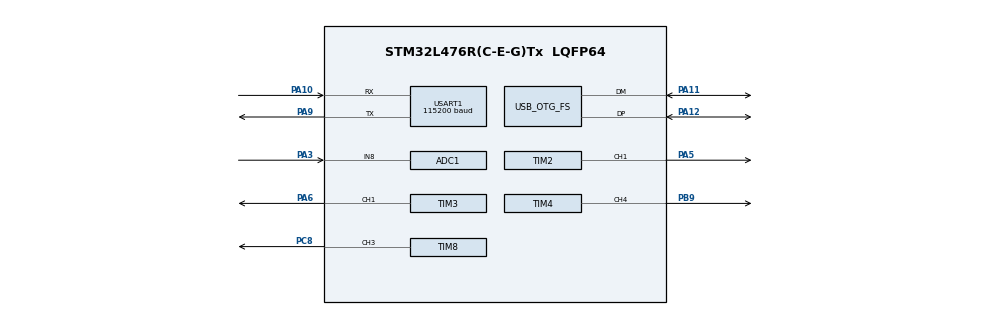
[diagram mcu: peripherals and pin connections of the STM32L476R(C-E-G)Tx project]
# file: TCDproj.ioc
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ADC1.Channel-1\#ChannelRegularConversion=ADC_CHANNEL_8
ADC1.DMAContinuousRequests=ENABLE
ADC1.ExternalTrigConv=ADC_EXTERNALTRIG_T4_TRGO
ADC1.NbrOfConversionFlag=1
ADC1.OffsetNumber-1\#ChannelRegularConversion=ADC_OFFSET_NONE
ADC1.Rank-1\#ChannelRegularConversion=1
ADC1.SamplingTime-1\#ChannelRegularConversion=ADC_SAMPLETIME_2CYCLES_5
ADC1.master=1
Dma.ADC1.0.Direction=DMA_PERIPH_TO_MEMORY
Dma.ADC1.0.Instance=DMA1_Channel1
Dma.ADC1.0.MemDataAlignment=DMA_MDATAALIGN_HALFWORD
Dma.ADC1.0.MemInc=DMA_MINC_ENABLE
Dma.ADC1.0.Mode=DMA_CIRCULAR
Dma.ADC1.0.PeriphDataAlignment=DMA_PDATAALIGN_HALFWORD
Dma.ADC1.0.PeriphInc=DMA_PINC_DISABLE
Dma.ADC1.0.Priority=DMA_PRIORITY_LOW
Dma.Request0=ADC1
Mcu.Family=STM32L4
Mcu.Name=STM32L476R(C-E-G)Tx
Mcu.Package=LQFP64
NVIC.DMA1_Channel1_IRQn=true\:2\:0\:true\:false\:true\:false\:true\:true
NVIC.OTG_FS_IRQn=true\:5\:0\:true\:false\:true\:false\:true\:true
NVIC.PriorityGroup=NVIC_PRIORITYGROUP_4
NVIC.TIM2_IRQn=true\:0\:0\:false\:false\:true\:true\:true\:true
NVIC.USART1_IRQn=true\:0\:0\:false\:false\:true\:true\:true\:true
PA10.Mode=Asynchronous
PA10.Signal=USART1_RX
PA11.Mode=Device_Only
PA11.Signal=USB_OTG_FS_DM
PA12.Mode=Device_Only
PA12.Signal=USB_OTG_FS_DP
PA3.Signal=ADCx_IN8
PA5.Signal=S_TIM2_CH1
PA6.Signal=S_TIM3_CH1
PA9.Mode=Asynchronous
PA9.Signal=USART1_TX
PB9.Signal=S_TIM4_CH4
PC8.Signal=S_TIM8_CH3
PH0-OSC_IN\ (PH0).Mode=HSE-External-Oscillator
PH0-OSC_IN\ (PH0).Signal=RCC_OSC_IN
PH1-OSC_OUT\ (PH1).Mode=HSE-External-Oscillator
PH1-OSC_OUT\ (PH1).Signal=RCC_OSC_OUT
ProjectManager.HeapSize=0x200
ProjectManager.StackSize=0x400
ProjectManager.TargetToolchain=STM32CubeIDE
RCC.ADCCLockSelection=RCC_ADCCLKSOURCE_SYSCLK
RCC.ADCFreq_Value=80000000
RCC.AHBFreq_Value=80000000
RCC.APB1Freq_Value=80000000
RCC.APB1TimFreq_Value=80000000
RCC.APB2Freq_Value=80000000
RCC.APB2TimFreq_Value=80000000
RCC.CortexFreq_Value=80000000
RCC.HCLKFreq_Value=80000000
RCC.HSE_VALUE=25000000
RCC.HSI_VALUE=16000000
RCC.LSE_VALUE=32768
RCC.MSI_VALUE=4000000
RCC.PLLN=40
RCC.PLLSAI1N=24
RCC.SYSCLKFreq_VALUE=80000000
RCC.SYSCLKSource=RCC_SYSCLKSOURCE_PLLCLK
RCC.USBFreq_Value=48000000
RCC.VCOOutputFreq_Value=160000000
SH.ADCx_IN8.0=ADC1_IN8,IN8-Single-Ended
SH.S_TIM2_CH1.0=TIM2_CH1,PWM Generation1 CH1
SH.S_TIM3_CH1.0=TIM3_CH1,PWM Generation1 CH1
SH.S_TIM4_CH4.0=TIM4_CH4,PWM Generation4 CH4
SH.S_TIM8_CH3.0=TIM8_CH3,PWM Generation3 CH3
TIM2.Channel-PWM\ Generation1\ CH1=TIM_CHANNEL_1
TIM2.Period=599999
TIM2.Pulse-PWM\ Generation1\ CH1=799
TIM2.TIM_MasterOutputTrigger=TIM_TRGO_ENABLE
TIM2.TIM_MasterSlaveMode=TIM_MASTERSLAVEMODE_ENABLE
TIM3.AutoReloadPreload=TIM_AUTORELOAD_PRELOAD_ENABLE
TIM3.Channel-PWM\ Generation1\ CH1=TIM_CHANNEL_1
TIM3.Period=39
TIM3.Pulse-PWM\ Generation1\ CH1=19
TIM3.TIM_MasterOutputTrigger=TIM_TRGO_UPDATE
TIM3.TIM_MasterSlaveMode=TIM_MASTERSLAVEMODE_ENABLE
TIM4.Channel-PWM\ Generation4\ CH4=TIM_CHANNEL_4
TIM4.Period=159
TIM4.Pulse-PWM\ Generation4\ CH4=39
TIM4.TIM_MasterOutputTrigger=TIM_TRGO_UPDATE
TIM4.TIM_MasterSlaveMode=TIM_MASTERSLAVEMODE_ENABLE
TIM8.Channel-PWM\ Generation3\ CH3=TIM_CHANNEL_3
TIM8.OCPolarity_3=TIM_OCPOLARITY_LOW
TIM8.Period=1599
TIM8.Pulse-PWM\ Generation3\ CH3=319
TIM8.TIM_MasterSlaveMode=TIM_MASTERSLAVEMODE_ENABLE
USART1.BaudRate=115200
USART1.Mode=MODE_TX
USART1.VirtualMode-Asynchronous=VM_ASYNC
USB_DEVICE.CLASS_NAME_FS=CDC
USB_DEVICE.VirtualMode=Cdc
USB_DEVICE.VirtualModeFS=Cdc_FS
USB_OTG_FS.VirtualMode=Device_Only
VP_TIM2_VS_ClockSourceITR.Mode=TriggerSource_ITR2
VP_TIM2_VS_ControllerModeClock.Mode=Clock Mode
VP_TIM3_VS_ClockSourceINT.Mode=Internal
VP_TIM4_VS_ClockSourceITR.Mode=TriggerSource_ITR2
VP_TIM4_VS_ControllerModeClock.Mode=Clock Mode
VP_TIM8_VS_ClockSourceINT.Mode=Internal
VP_TIM8_VS_ClockSourceITR.Mode=TriggerSource_ITR1
VP_USB_DEVICE_VS_USB_DEVICE_CDC_FS.Mode=CDC_FS
board=custom

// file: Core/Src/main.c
/* USER CODE BEGIN Header */
/**
  ******************************************************************************
  * @file           : main.c
  * @brief          : Main program body
  ******************************************************************************
  * @attention
  *
  * Copyright (c) 2026 STMicroelectronics.
  * All rights reserved.
  *
  * This software is licensed under terms that can be found in the LICENSE file
  * in the root directory of this software component.
  * If no LICENSE file comes with this software, it is provided AS-IS.
  *
  ******************************************************************************
  */
/* USER CODE END Header */
#include "main.h"
#include "adc.h"
#include "dma.h"
#include "tim.h"
#include "usart.h"
#include "usb_device.h"
#include "gpio.h"

/* USER CODE BEGIN Includes */
#include <string.h>
/* USER CODE END Includes */

/* USER CODE BEGIN PV */

extern uint8_t CDC_Transmit_FS(uint8_t* Buf, uint16_t Len);
extern USBD_HandleTypeDef hUsbDeviceFS;

/* Periods for the timers controlling SH- and ICG-pulses. Sized for F401
 * wall-clock parity (SH ~625 us, ICG ~250 ms / 4 Hz frame rate).
 *
 * SH is on TIM8 internal clock at 80 MHz (10x F401's 8 MHz), so SH_period
 * scales 10x: 5000 -> 50000.
 *
 * ICG is on TIM2 clocked by TIM3 TRGO. TIM3 ARR=40 gives a 2 MHz tick
 * (vs F401's 800 kHz: 8 MHz / 10). That's 2.5x faster than F401, so ICG_period
 * scales 2.5x, not 10x: 200000 -> 500000. */
__IO uint32_t SH_period = 50000;
__IO uint32_t ICG_period = 500000;

__IO uint16_t aTxBuffer[CCDSize];

/* Flags */
__IO uint8_t change_exposure_flag = 0; /* set by CDC RX when host sends new ICG/SH */
__IO uint8_t data_flag = 0;
/* Flag to signal what action to do in main-loop
 *   0 do nothing
 *   1 transmit data in aTxBuffer
 */

__IO uint8_t pulse_counter = 8;
__IO uint8_t CCD_flushed = 0;  /* set to 1 by TIM2 IRQ after 2nd ICG pulse */
__IO uint8_t in_reading = 0;   /* 1 while ADC is sampling a frame */
__IO uint8_t coll_mode = 1;    /* 1 = continuous capture */
__IO uint8_t avg_exps  = 1;    /* 1 = single-shot per frame (no averaging) */
__IO uint8_t exps_left = 0;

/* USER CODE END PV */

void SystemClock_Config(void);
void PeriphCommonClock_Config(void);
/* USER CODE BEGIN PFP */
void flush_CCD(void);
void CCD_set_clocks(void);
/* USER CODE END PFP */

/* USER CODE BEGIN 0 */
/* TIM Configuration (L476 port of F401 tcd1304-usb)
 *   fM  (TIM3)  PA6 (CH1)  - master clock
 *   SH  (TIM8)  PC8 (CH3)  - was TIM5 CH4 / PA3 on F401
 *   ICG (TIM2)  PA5 (CH1)  - was TIM2 CH3 / PA2 on F401
 *   CCD-output  PA3 (ADC1_IN8) - was PA0 / ADC1_IN0 on F401
 */

static void ADC_Calibrate_And_Enable(void)
{
    if (LL_ADC_IsEnabled(ADC1)) return;
    LL_ADC_StartCalibration(ADC1, LL_ADC_SINGLE_ENDED);
    while (LL_ADC_IsCalibrationOnGoing(ADC1)) { }
    /* short delay between calibration and enable */
    for (volatile uint32_t i = 0; i < 32; i++) { __NOP(); }
    LL_ADC_Enable(ADC1);
    while (!LL_ADC_IsActiveFlag_ADRDY(ADC1)) { }
}
/* USER CODE END 0 */

int main(void)
{

  /* MCU Configuration--------------------------------------------------------*/

  /* Reset of all peripherals, Initializes the Flash interface and the Systick. */
  HAL_Init();

  /* Configure the system clock */
  SystemClock_Config();

  /* Configure the peripherals common clocks */
  PeriphCommonClock_Config();

  /* Initialize all configured peripherals */
  MX_GPIO_Init();
  MX_DMA_Init();
  MX_TIM3_Init();
  MX_TIM4_Init();
  MX_TIM2_Init();
  MX_TIM8_Init();
  MX_ADC1_Init();
  MX_USB_DEVICE_Init();
  MX_USART1_UART_Init();
  /* USER CODE BEGIN 2 */
  /* Enable the capture/compare interrupt for channel 1 (ICG rising edge on
   * L476 — was CC3 on the F401 because ICG was TIM2_CH3 there). */
  LL_TIM_EnableIT_CC1(TIM2);

  /**********************************/
  /* Start output signal generation */
  /**********************************/
  /* Enable output channels (LL OC init leaves them disabled) */
  LL_TIM_CC_EnableChannel(TIM3, LL_TIM_CHANNEL_CH1);
  LL_TIM_CC_EnableChannel(TIM4, LL_TIM_CHANNEL_CH4);
  /* Enable counter */
  LL_TIM_EnableCounter(TIM3);
  LL_TIM_EnableCounter(TIM4);
  /* stop ADC timer */
  TIM4->CR1 &= (uint16_t)~TIM_CR1_CEN;

  /* start TIM2 (ICG) and TIM8 (SH) */
  LL_TIM_CC_EnableChannel(TIM2, LL_TIM_CHANNEL_CH1);
  LL_TIM_CC_EnableChannel(TIM8, LL_TIM_CHANNEL_CH3);
  LL_TIM_EnableAllOutputs(TIM8); /* advanced-timer MOE */
  LL_TIM_EnableCounter(TIM2);
  LL_TIM_EnableCounter(TIM8);

  CCD_set_clocks();

  /* Arm DMA1 Channel 1 for ADC->memory transfers. Cube's adc.c sets the DMA
   * *mode* (direction/circular/widths) but does NOT set addresses, length,
   * the TC interrupt, or the channel enable bit — those land here. */
  LL_DMA_DisableChannel(DMA1, LL_DMA_CHANNEL_1);
  LL_DMA_SetPeriphAddress(DMA1, LL_DMA_CHANNEL_1,
      LL_ADC_DMA_GetRegAddr(ADC1, LL_ADC_DMA_REG_REGULAR_DATA));
  LL_DMA_SetMemoryAddress(DMA1, LL_DMA_CHANNEL_1, (uint32_t)aTxBuffer);
  LL_DMA_SetDataLength(DMA1, LL_DMA_CHANNEL_1, CCDSize);
  LL_DMA_EnableIT_TC(DMA1, LL_DMA_CHANNEL_1);
  LL_DMA_EnableChannel(DMA1, LL_DMA_CHANNEL_1);

  /* Start the ADC, so it's ready to convert when ADC timer (TIM4) is restarted.
   * L476 needs calibration + ADRDY wait first (F4 didn't). */
  ADC_Calibrate_And_Enable();
  LL_ADC_REG_StartConversion(ADC1);

  /* F401 stays idle until a host command resets pulse_counter via flush_CCD().
   * We have no command channel, so kick off a flush so frame 1 isn't garbage
   * and the IRQ pulse_counter cycle (2 -> flushed, 4 -> start TIM4) begins. */
  flush_CCD();

  /* USER CODE END 2 */

  /* Infinite loop */
  /* USER CODE BEGIN WHILE */
  while (1)
  {
    if (change_exposure_flag == 1)
    {
      change_exposure_flag = 0;

      /* wait for any in-flight ADC capture to finish */
      while (in_reading == 1);

      flush_CCD();
      CCD_set_clocks();
    }

    switch (data_flag)
    {
      case 1: /* transmit data in aTxBuffer */
        data_flag = 0;

        /* continuous mode? then collect again at next ICG-pulse */
        if (coll_mode == 1)
          pulse_counter = 4;

        /* Only transmit if the host has enumerated the CDC class. Without
         * this guard, CDC_Transmit_FS dereferences a NULL pClassData and
         * hard-faults if USB isn't plugged in / enumerated yet. */
        if (hUsbDeviceFS.pClassData != NULL)
          CDC_Transmit_FS((uint8_t*) aTxBuffer, 2*CCDSize);
        break;
    }

    /* USER CODE END WHILE */

  }
}

void SystemClock_Config(void)
{
  LL_FLASH_SetLatency(LL_FLASH_LATENCY_4);
  while(LL_FLASH_GetLatency()!= LL_FLASH_LATENCY_4)
  {
  }
  LL_PWR_SetRegulVoltageScaling(LL_PWR_REGU_VOLTAGE_SCALE1);
  while (LL_PWR_IsActiveFlag_VOS() != 0)
  {
  }
  LL_RCC_MSI_Enable();

   /* Wait till MSI is ready */
  while(LL_RCC_MSI_IsReady() != 1)
  {

  }
  LL_RCC_MSI_EnableRangeSelection();
  LL_RCC_MSI_SetRange(LL_RCC_MSIRANGE_6);
  LL_RCC_MSI_SetCalibTrimming(0);
  LL_RCC_PLL_ConfigDomain_SYS(LL_RCC_PLLSOURCE_MSI, LL_RCC_PLLM_DIV_1, 40, LL_RCC_PLLR_DIV_2);
  LL_RCC_PLL_EnableDomain_SYS();
  LL_RCC_PLL_Enable();

   /* Wait till PLL is ready */
  while(LL_RCC_PLL_IsReady() != 1)
  {

  }
  LL_RCC_SetSysClkSource(LL_RCC_SYS_CLKSOURCE_PLL);

   /* Wait till System clock is ready */
  while(LL_RCC_GetSysClkSource() != LL_RCC_SYS_CLKSOURCE_STATUS_PLL)
  {

  }
  LL_RCC_SetAHBPrescaler(LL_RCC_SYSCLK_DIV_1);
  LL_RCC_SetAPB1Prescaler(LL_RCC_APB1_DIV_1);
  LL_RCC_SetAPB2Prescaler(LL_RCC_APB2_DIV_1);
  LL_SetSystemCoreClock(80000000);

   /* Update the time base */
  if (HAL_InitTick (TICK_INT_PRIORITY) != HAL_OK)
  {
    Error_Handler();
  }
}

void PeriphCommonClock_Config(void)
{
  LL_RCC_PLLSAI1_ConfigDomain_48M(LL_RCC_PLLSOURCE_MSI, LL_RCC_PLLM_DIV_1, 24, LL_RCC_PLLSAI1Q_DIV_2);
  LL_RCC_PLLSAI1_EnableDomain_48M();
  LL_RCC_PLLSAI1_Enable();

   /* Wait till PLLSAI1 is ready */
  while(LL_RCC_PLLSAI1_IsReady() != 1)
  {

  }
}

/* USER CODE BEGIN 4 */
/* Direct port of F401 flush_CCD(): run a short ICG cycle twice to dump
 * residual charge before real readout. Flush periods scaled 10x to match
 * F401 wall-clock at 80 MHz timer tick (was 8 MHz on F401). */
void flush_CCD(void)
{
    TIM2->ARR = 150000 - 1;
    TIM8->ARR = 200 - 1;
    TIM3->ARR = 40 - 1;   /* L476: 40 -> fM = 2 MHz (F401 had 10 @ 8 MHz tick) */

    LL_TIM_GenerateEvent_UPDATE(TIM2);
    LL_TIM_GenerateEvent_UPDATE(TIM3);
    LL_TIM_GenerateEvent_UPDATE(TIM8);

    /* align output */
    TIM3->CNT = 0;
    TIM2->CNT = 150000 - ICG_delay;
    TIM8->CNT = 200 - SH_delay;

    CCD_flushed = 0;
    pulse_counter = 0;

    while (CCD_flushed == 0);

    /* Restore operational ARRs so the next ICG/SH pulses fire at the
     * capture timing, not the flush timing. */
    CCD_set_clocks();
}

void CCD_set_clocks(void)
{
    TIM2->ARR = ICG_period - 1;
    TIM8->ARR = SH_period - 1;
    TIM3->ARR = 40 - 1;

    LL_TIM_GenerateEvent_UPDATE(TIM2);
    LL_TIM_GenerateEvent_UPDATE(TIM3);
    LL_TIM_GenerateEvent_UPDATE(TIM8);

    /* align output */
    TIM3->CNT = 0;
    TIM2->CNT = ICG_period - ICG_delay;
    TIM8->CNT = SH_period - SH_delay;
}
/* USER CODE END 4 */

void Error_Handler(void)
{
  __disable_irq();
  while (1)
  {
  }
}
